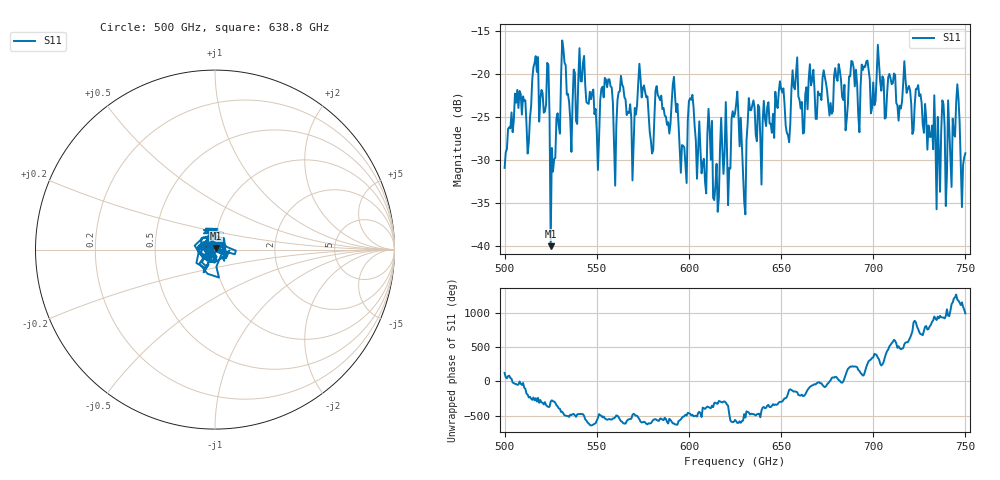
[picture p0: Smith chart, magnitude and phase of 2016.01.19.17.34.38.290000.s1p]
!Created with skrf (http://scikit-rf.org).
# GHz S RI R 50.0
!freq ReS11 ImS11
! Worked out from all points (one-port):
!   401 points, 500 GHz to 750 GHz, reference 50 ohm
!   lowest |S11| = -40.0 dB at 525 GHz (marker M1), VSWR 1.02, Z = 50.4 + j0.919 ohm
!   |S11| at or under -10 dB: start of sweep to end of sweep
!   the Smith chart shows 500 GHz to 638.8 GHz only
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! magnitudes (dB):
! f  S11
! 500 GHz  -30.9
! 506.9 GHz  -21.8
! 513.1 GHz  -27.9
! 516.9 GHz  -17.9
! 525 GHz  -40.0
! 526.2 GHz  -31.3
! 531.2 GHz  -16.1
! 535.6 GHz  -25.3
! 541.9 GHz  -20.8
! 550 GHz  -26.6
! 562.5 GHz  -22.0
! 593.8 GHz  -23.4
! 597.5 GHz  -28.5
! 601.2 GHz  -23.0
! 608.1 GHz  -29.8
! 611.2 GHz  -26.4
! 615 GHz  -30.4
! 625 GHz  -24.6
! 630 GHz  -34.9
! 633.8 GHz  -24.2
! 650 GHz  -21.7
! 653.8 GHz  -27.1
! 656.2 GHz  -19.5
! 687.5 GHz  -20.3
! 718.8 GHz  -21.7
! 735 GHz  -25.0
! 745.6 GHz  -21.2
! 750 GHz  -29.2
